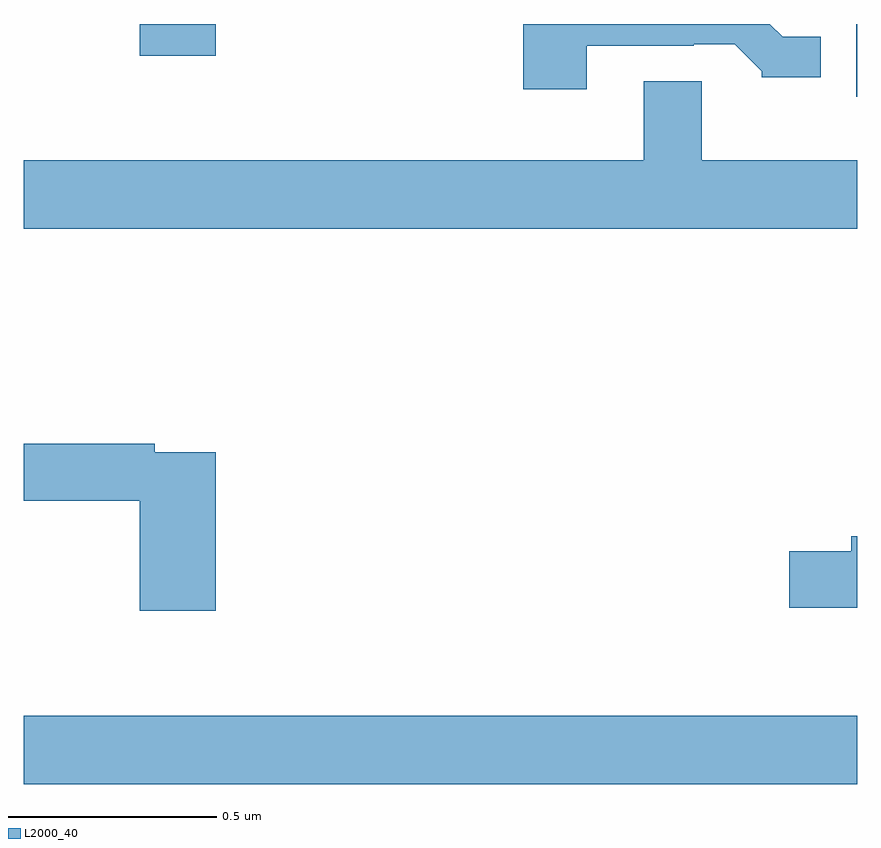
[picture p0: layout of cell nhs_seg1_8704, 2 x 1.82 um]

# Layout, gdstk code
import gdstk
lib = gdstk.Library(unit=1e-6, precision=1e-09)
def R(c, l, rs):  # rectangles x0, y0, x1, y1
    for r in rs: c.add(gdstk.rectangle(r[:2], r[2:], *l))
def P(c, l, *ps):  # polygons
    for p in ps: c.add(gdstk.Polygon(p, *l))
L2000_40 = (2000, 40)

nhs_seg1_8704 = lib.new_cell('nhs_seg1_8704')
R(nhs_seg1_8704, L2000_40, [(219,574.376,221,574.54), (220.997,576.024,221,576.199), (219.278,576.123,219.461,576.199)])
P(nhs_seg1_8704, L2000_40, [(220.351,576.147),(220.607,576.147),(220.607,576.15),(220.706,576.15),(220.77,576.086),(220.77,576.071),(220.912,576.071),(220.912,576.168),(220.821,576.168),(220.79,576.199),(220.199,576.199),(220.199,576.042),(220.351,576.042)],
  [(221,575.872),(220.627,575.872),(220.627,576.062),(220.487,576.062),(220.487,575.872),(219,575.872),(219,575.708),(221,575.708)],
  [(219.461,575.172),(219.314,575.172),(219.314,575.192),(219,575.192),(219,575.056),(219.278,575.056),(219.278,574.791),(219.461,574.791)],
  [(221,574.97),(220.985,574.97),(220.985,574.934),(220.836,574.934),(220.836,574.799),(221,574.799)])

lib.write_gds('nhs_seg1_8704.gds')
